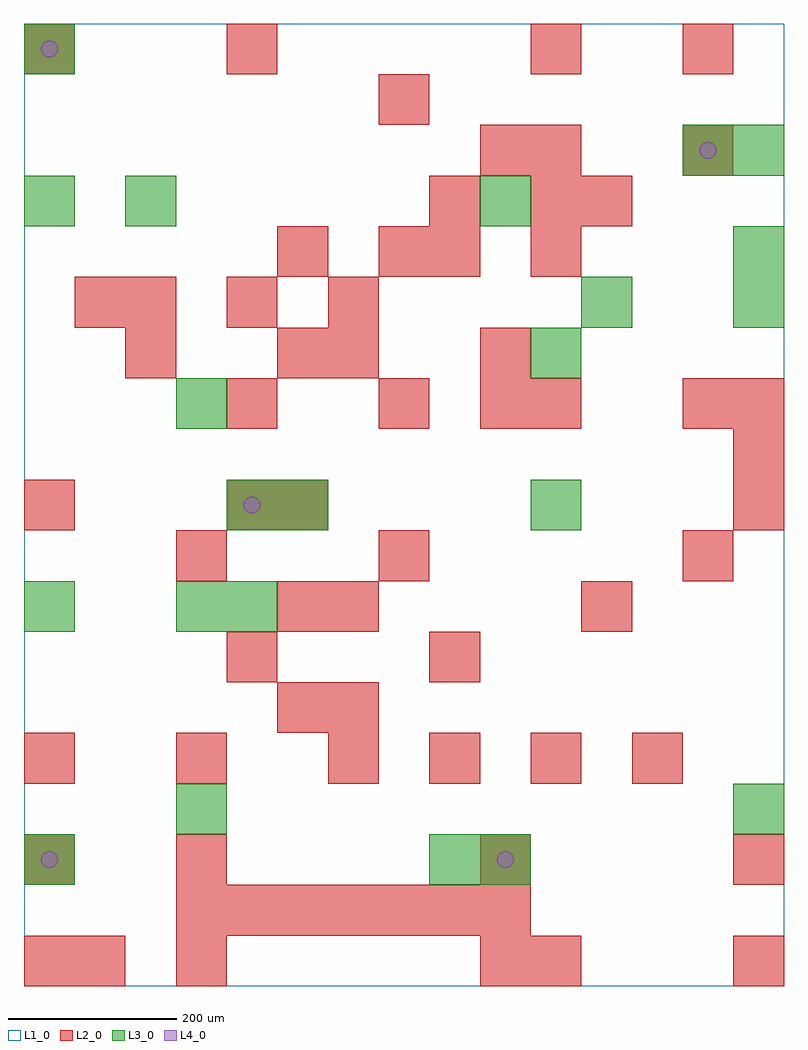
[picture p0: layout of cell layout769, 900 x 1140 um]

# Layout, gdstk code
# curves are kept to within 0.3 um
import gdstk
lib = gdstk.Library(unit=1e-6, precision=1e-09)
def R(c, l, rs):  # rectangles x0, y0, x1, y1
    for r in rs: c.add(gdstk.rectangle(r[:2], r[2:], *l))
def A(c, l, x, y, w, h, nx, ny, dx, dy):  # array of equal rectangles
    R(c, l, [(x+i*dx, y+j*dy, x+i*dx+w, y+j*dy+h) for i in range(nx) for j in range(ny)])
def P(c, l, *ps):  # polygons
    for p in ps: c.add(gdstk.Polygon(p, *l))
L1_0 = (1, 0)
L2_0 = (2, 0)
L3_0 = (3, 0)
L4_0 = (4, 0)

layout769 = lib.new_cell('layout769')
R(layout769, L1_0, [(0,0,900,1140)])
A(layout769, L2_0, 180, 60, 60, 60, 7, 1, 60, 0)
A(layout769, L2_0, 0, 240, 60, 60, 3, 1, 180, 0)
A(layout769, L2_0, 480, 240, 60, 60, 3, 1, 120, 0)
A(layout769, L2_0, 300, 300, 60, 60, 1, 3, 0, 120)
A(layout769, L2_0, 420, 480, 60, 60, 1, 4, 0, 180)
A(layout769, L2_0, 840, 540, 60, 60, 1, 3, 0, 60)
A(layout769, L2_0, 120, 780, 60, 60, 3, 1, 120, 0)
A(layout769, L2_0, 600, 840, 60, 60, 1, 3, 0, 60)
R(layout769, L2_0, [(0,0,60,60), (60,0,120,60), (180,0,240,60), (540,0,600,60), (600,0,660,60), (840,0,900,60), (0,120,60,180), (180,120,240,180), (540,120,600,180), (840,120,900,180), (360,300,420,360), (240,360,300,420), (480,360,540,420), (360,420,420,480), (660,420,720,480), (180,480,240,540), (780,480,840,540), (0,540,60,600), (240,540,300,600), (240,660,300,720), (540,660,600,720), (600,660,660,720), (780,660,840,720), (120,720,180,780), (300,720,360,780), (360,720,420,780), (540,720,600,780), (60,780,120,840), (300,840,360,900), (480,840,540,900), (480,900,540,960), (660,900,720,960), (540,960,600,1020), (780,960,840,1020), (0,1080,60,1140), (240,1080,300,1140), (600,1080,660,1140), (780,1080,840,1140)])
A(layout769, L3_0, 180, 180, 60, 60, 1, 3, 0, 240)
R(layout769, L3_0, [(0,120,60,180), (480,120,540,180), (540,120,600,180), (840,180,900,240), (0,420,60,480), (240,420,300,480), (240,540,300,600), (300,540,360,600), (600,540,660,600), (600,720,660,780), (660,780,720,840), (840,780,900,840), (840,840,900,900), (0,900,60,960), (120,900,180,960), (540,900,600,960), (780,960,840,1020), (840,960,900,1020), (0,1080,60,1140)])
P(layout769, L4_0, [(40,150),(39.239,153.827),(37.071,157.071),(33.827,159.239),(30,160),(26.173,159.239),(22.929,157.071),(20.761,153.827),(20,150),(20.761,146.173),(22.929,142.929),(26.173,140.761),(30,140),(33.827,140.761),(37.071,142.929),(39.239,146.173)],
  [(40,1110),(39.239,1113.827),(37.071,1117.071),(33.827,1119.239),(30,1120),(26.173,1119.239),(22.929,1117.071),(20.761,1113.827),(20,1110),(20.761,1106.173),(22.929,1102.929),(26.173,1100.761),(30,1100),(33.827,1100.761),(37.071,1102.929),(39.239,1106.173)],
  [(280,570),(279.239,573.827),(277.071,577.071),(273.827,579.239),(270,580),(266.173,579.239),(262.929,577.071),(260.761,573.827),(260,570),(260.761,566.173),(262.929,562.929),(266.173,560.761),(270,560),(273.827,560.761),(277.071,562.929),(279.239,566.173)],
  [(580,150),(579.239,153.827),(577.071,157.071),(573.827,159.239),(570,160),(566.173,159.239),(562.929,157.071),(560.761,153.827),(560,150),(560.761,146.173),(562.929,142.929),(566.173,140.761),(570,140),(573.827,140.761),(577.071,142.929),(579.239,146.173)],
  [(820,990),(819.239,993.827),(817.071,997.071),(813.827,999.239),(810,1000),(806.173,999.239),(802.929,997.071),(800.761,993.827),(800,990),(800.761,986.173),(802.929,982.929),(806.173,980.761),(810,980),(813.827,980.761),(817.071,982.929),(819.239,986.173)])

lib.write_gds('layout769.gds')
